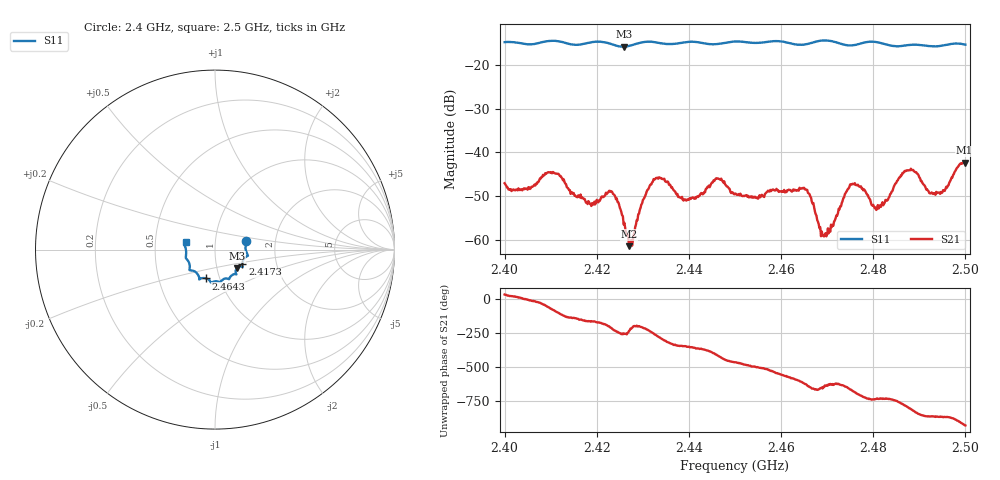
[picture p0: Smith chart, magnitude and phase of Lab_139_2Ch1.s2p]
# Hz S RI R 50
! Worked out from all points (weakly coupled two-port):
!   601 points, 2.4 GHz to 2.5 GHz, reference 50 ohm
!   highest |S21| = -42.33 dB at 2.4998 GHz (marker M1); lowest = -61.4 dB at 2.427 GHz (marker M2)
!   lowest |S11| = -15.9 dB at 2.4258 GHz (marker M3), VSWR 1.38, Z = 62.2 - j13.2 ohm
!   |S11| at or under -10 dB: start of sweep to end of sweep
!   S12 and S22 are empty: the file has one direction only
!   S11 on the Smith chart (normalised r, x): 2.4 GHz: 1.41, +0.14; 2.4173 GHz: 1.34, -0.23; 2.4643 GHz: 0.86, -0.28; 2.5 GHz: 0.72, +0.06
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2.4e9  0.1732 0.0497  0.00379 0.00235  0 0  0 0
2.405167e9  0.1699 0.0113  0.004 -0.000473  0 0  0 0
2.410167e9  0.1837 -0.0329  0.00162 -0.0056  0 0  0 0
2.416667e9  0.1528 -0.0749  -0.00268 -0.00138  0 0  0 0
2.417333e9  0.1522 -0.0822  -0.00275 -0.00109  0 0  0 0
2.423167e9  0.1438 -0.0933  -0.00297 0.00204  0 0  0 0
2.425833e9  0.1214 -0.1037  -0.000421 0.00145  0 0  0 0
2.427e9  0.1163 -0.1143  -0.000473 0.000713  0 0  0 0
2.433333e9  0.1128 -0.1367  0.00068 0.00497  0 0  0 0
2.439167e9  0.0807 -0.1604  0.00286 0.000609  0 0  0 0
2.446167e9  0.0463 -0.1652  0.00283 -0.00415  0 0  0 0
2.45e9  0.0299 -0.1809  -0.000996 -0.00325  0 0  0 0
2.464333e9  -0.0499 -0.1605  -0.00131 0.00363  0 0  0 0
2.466667e9  -0.0759 -0.1599  0.00138 0.00238  0 0  0 0
2.4695e9  -0.0876 -0.1666  0.000155 0.00116  0 0  0 0
2.4755e9  -0.1117 -0.1225  0.00327 0.00294  0 0  0 0
2.480333e9  -0.1427 -0.1125  0.00219 -0.000727  0 0  0 0
2.483333e9  -0.1407 -0.0895  0.00289 -0.000902  0 0  0 0
2.487167e9  -0.1563 -0.0555  0.0021 -0.00587  0 0  0 0
2.494e9  -0.1619 -0.00126  -0.00294 -0.00187  0 0  0 0
2.499833e9  -0.1645 0.0409  -0.00665 0.00378  0 0  0 0
2.5e9  -0.1637 0.0421  -0.00634 0.00394  0 0  0 0
